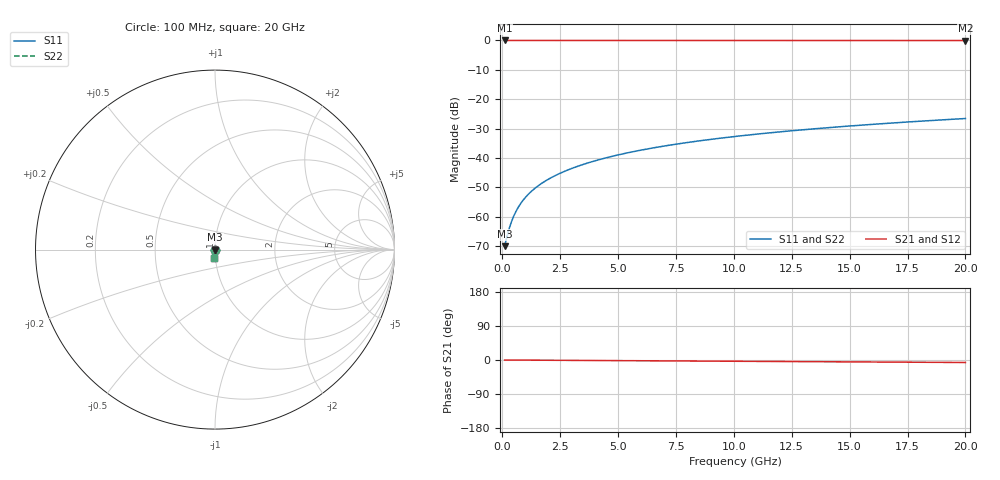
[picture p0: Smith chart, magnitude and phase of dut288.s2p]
! Touchstone file exported from HFSS 2026.1.0
!  File:  C:/ffzhzh/LocalFiles/Ansys_Project_Files/temp_train_TSV_288_1782993692_45328.aedt
!  Generated:  08:03:07 PM Jul  2, 2026
!  Design:  TSV
!  Project:  temp_train_TSV_288_1782993692_45328
! Variables:
!  h_bsmrdl = 2um
!  h_ox = 20um
!  h_rdl = 5um
!  h_sub = 64.67um
!  h_tmrdl = 5um
!  h_tsv = 64.67um
!  h_via = 3um
!  l_bsmrdl = 300um
!  l_sub = 411.66um
!  l_tmrdl = 200um
!  m_sub = 200um
!  pitch = 16.33um
!  r_tsv = 5.83um
!  s_tmrdl = 10um
!  w_bsmrdl = 18um
!  w_sub = 500um
!  w_tmrdl = 12um
!  x_tsv_center1 = 206um
!  x_tsv_center2 = 524um
!  x_tsv_center3 = 736um
!  x_tsv_center4 = 1054um
!  x_tsv_center5 = 1266um
!  x_tsv_center6 = 1584um
# GHz S MA R 50.000000
! Terminal data exported
! Port[1] = TSV1_1_T1
! Port[2] = TSV1_1_T2
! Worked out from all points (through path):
!   200 points, 100 MHz to 20 GHz, reference 50 ohm
!   highest |S21| = 0.00 dB at 100 MHz (marker M1); lowest = 0.0 dB at 20 GHz (marker M2)
!   lowest |S11| = -70.0 dB at 100 MHz (marker M3), VSWR 1.00, Z = 50 - j0.017 ohm
!   |S11| at or under -10 dB: start of sweep to end of sweep
!   |S22| runs from -70.0 to -26.6 dB; largest |S21 - S12| = 2.7e-15
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0.1  0.0003162 -32.6  0.9997 -0.0  0.9997 -0.0  0.0003162 -32.6
! Gamma 0 0 0 0
! Port Impedance 50 0 50 0
0.2  0.0004557 -50.2  0.9997 -0.1  0.9997 -0.1  0.0004557 -50.2
0.3  0.0006332 -59.2  0.9997 -0.1  0.9997 -0.1  0.0006332 -59.2
0.4  0.0008308 -64.6  0.9996 -0.1  0.9996 -0.1  0.0008308 -64.6
0.5  0.00104 -68.2  0.9996 -0.2  0.9996 -0.2  0.00104 -68.2
0.6  0.001255 -70.9  0.9996 -0.2  0.9996 -0.2  0.001255 -70.9
0.8  0.001694 -74.6  0.9995 -0.3  0.9995 -0.3  0.001694 -74.6
1.1  0.002361 -78.1  0.9995 -0.4  0.9995 -0.4  0.002361 -78.1
1.3  0.002807 -79.6  0.9995 -0.4  0.9995 -0.4  0.002807 -79.6
1.5  0.003254 -80.8  0.9994 -0.5  0.9994 -0.5  0.003254 -80.8
1.8  0.003927 -82.0  0.9994 -0.6  0.9994 -0.6  0.003927 -82.0
2.1  0.004602 -83.0  0.9994 -0.7  0.9994 -0.7  0.004602 -83.0
2.7  0.005961 -84.2  0.9993 -0.9  0.9993 -0.9  0.005961 -84.2
3.5  0.007794 -85.3  0.9992 -1.2  0.9992 -1.2  0.007794 -85.3
4.2  0.009416 -86.0  0.9991 -1.4  0.9991 -1.4  0.009416 -86.0
5  0.01128 -86.7  0.999 -1.7  0.999 -1.7  0.01128 -86.7
6.8  0.01553 -88.0  0.9987 -2.3  0.9987 -2.3  0.01553 -88.0
8.3  0.01909 -88.9  0.9985 -2.8  0.9985 -2.8  0.01909 -88.9
10.1  0.02337 -89.9  0.9983 -3.3  0.9983 -3.3  0.02337 -89.9
13.4  0.03122 -91.4  0.9979 -4.4  0.9979 -4.4  0.03122 -91.4
16.7  0.03908 -92.8  0.9974 -5.5  0.9974 -5.5  0.03908 -92.8
20  0.04695 -94.1  0.9969 -6.6  0.9969 -6.6  0.04695 -94.1
